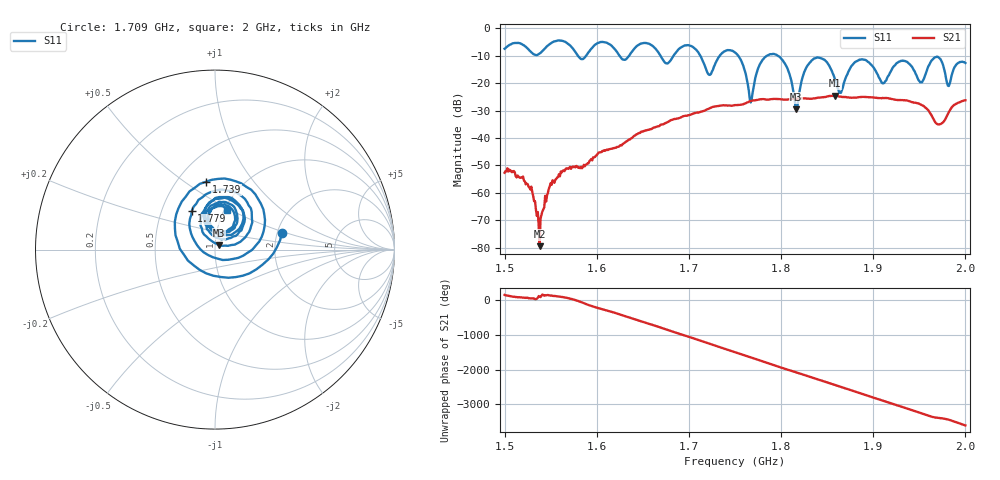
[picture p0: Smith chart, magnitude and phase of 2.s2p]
! NanoVNA-App by SYSJOINT et al v1.1.209 (+OD18)
! Date: 2026-01-21 14:31:44
! Start: 1,5GHz Stop: 2GHz Points: 501
! S-Parameter data: F S11 S21 S12 S22
# Hz S RI R 50
!  Frequency  S11_Real  S11_Imag  S21_Real  S21_Imag  S12_Real  S12_Imag  S22_Real  S22_Imag
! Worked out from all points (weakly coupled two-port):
!   501 points, 1.5 GHz to 2 GHz, reference 50 ohm
!   highest |S21| = -24.63 dB at 1.858 GHz (marker M1); lowest = -79.4 dB at 1.538 GHz (marker M2)
!   lowest |S11| = -29.5 dB at 1.816 GHz (marker M3), VSWR 1.07, Z = 52.3 + j2.55 ohm
!   |S11| at or under -10 dB: 1.712 GHz to 1.734 GHz (21.14 MHz wide, 1.23 % of centre); 1.753 GHz to 1.785 GHz (31.46 MHz wide, 1.78 % of centre); 1.796 GHz to end of sweep (the widest 3 of 6)
!   S12 and S22 are empty: the file has one direction only
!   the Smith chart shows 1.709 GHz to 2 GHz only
!   S11 on the Smith chart (normalised r, x): 1.709 GHz: 2.11, +0.47; 1.739 GHz: 0.69, +0.61; 1.779 GHz: 0.71, +0.32; 2 GHz: 1.03, +0.49
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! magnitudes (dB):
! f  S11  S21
! 1.5 GHz  -7.5  -52.6
! 1.527 GHz  -8.1  -58.1
! 1.538 GHz  -9.2  -79.4
! 1.551 GHz  -5.3  -57.1
! 1.584 GHz  -11.2  -51.0
! 1.667 GHz  -8.9  -35.7
! 1.709 GHz  -8.3  -30.7
! 1.722 GHz  -17.0  -29.2
! 1.739 GHz  -8.4  -28.1
! 1.75 GHz  -8.8  -28.0
! 1.767 GHz  -27.1  -26.5
! 1.779 GHz  -12.0  -25.8
! 1.801 GHz  -11.5  -25.9
! 1.816 GHz  -29.5  -25.7
! 1.834 GHz  -11.6  -25.7
! 1.858 GHz  -18.1  -24.6
! 1.917 GHz  -17.1  -25.6
! 1.934 GHz  -11.9  -26.2
! 1.952 GHz  -19.7  -27.9
! 1.971 GHz  -10.7  -35.1
! 1.982 GHz  -21.1  -30.6
! 2 GHz  -12.7  -26.3
